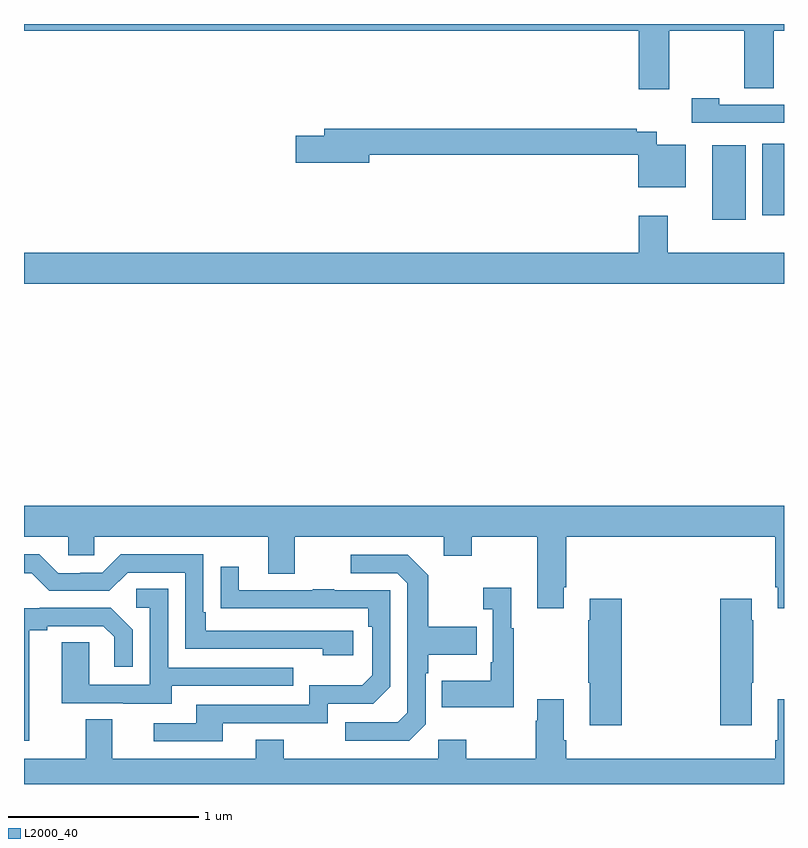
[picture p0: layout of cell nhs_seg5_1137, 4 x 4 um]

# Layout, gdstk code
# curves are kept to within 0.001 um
import gdstk
lib = gdstk.Library(unit=1e-6, precision=1e-09)
def R(c, l, rs):  # rectangles x0, y0, x1, y1
    for r in rs: c.add(gdstk.rectangle(r[:2], r[2:], *l))
def P(c, l, *ps):  # polygons
    for p in ps: c.add(gdstk.Polygon(p, *l))
L2000_40 = (2000, 40)

nhs_seg5_1137 = lib.new_cell('nhs_seg5_1137')
R(nhs_seg5_1137, L2000_40, [(184.622,851.768,184.798,852.16), (184.886,851.793,185,852.169)])
P(nhs_seg5_1137, L2000_40, [(184.395,852.764),(184.792,852.764),(184.792,852.46),(184.946,852.46),(184.946,852.764),(185,852.764),(185,852.799),(181,852.799),(181,852.764),(184.235,852.764),(184.235,852.456),(184.395,852.456)],
  [(185,852.375),(184.659,852.375),(184.659,852.408),(184.515,852.408),(184.515,852.279),(185,852.279)],
  [(184.483,852.163),(184.329,852.163),(184.329,852.231),(184.226,852.231),(184.226,852.248),(182.579,852.248),(182.579,852.212),(182.43,852.212),(182.43,852.07),(182.818,852.07),(182.818,852.112),(184.233,852.112),(184.233,851.939),(184.483,851.939)],
  [(185,851.596),(184.387,851.596),(184.387,851.791),(184.235,851.791),(184.235,851.596),(181,851.596),(181,851.432),(185,851.432)],
  [(183.841,849.835),(183.854,849.835),(183.854,850.1),(184.955,850.1),(184.955,849.835),(184.967,849.835),(184.967,849.723),(185,849.723),(185,850.264),(181,850.264),(181,850.1),(181.233,850.1),(181.233,850.002),(181.371,850.002),(181.371,850.1),(182.285,850.1),(182.285,849.906),(182.425,849.906),(182.425,850.1),(183.209,850.1),(183.209,850.001),(183.357,850.001),(183.357,850.1),(183.701,850.1),(183.701,849.723),(183.841,849.723)],
  [(182.734,849.606),(181.957,849.606),(181.957,849.703),(181.944,849.703),(181.944,850.008),(181.509,850.008),(181.413,849.912),(181.295,849.912),(181.295,849.909),(181.179,849.909),(181.079,850.009),(181,850.009),(181,849.909),(181.041,849.909),(181.134,849.816),(181.449,849.816),(181.545,849.912),(181.848,849.912),(181.848,849.51),(182.573,849.51),(182.573,849.476),(182.734,849.476)],
  [(183.114,849.114),(183.114,849.383),(183.127,849.383),(183.127,849.479),(183.383,849.479),(183.383,849.627),(183.127,849.627),(183.127,849.899),(183.021,850.005),(182.721,850.005),(182.721,849.909),(182.964,849.909),(183.018,849.855),(183.018,849.174),(182.967,849.123),(182.691,849.123),(182.691,849.027),(183.027,849.027)],
  [(182.047,849.12),(182.598,849.12),(182.598,849.222),(182.838,849.222),(182.928,849.312),(182.928,849.819),(182.633,849.819),(182.633,849.824),(182.521,849.824),(182.521,849.819),(182.131,849.819),(182.131,849.943),(182.035,849.943),(182.035,849.724),(182.812,849.723),(182.812,849.626),(182.832,849.626),(182.832,849.372),(182.779,849.319),(182.502,849.319),(182.502,849.216),(181.907,849.216),(181.907,849.12),(181.683,849.12),(181.683,849.024),(182.047,849.024)],
  [(183.577,849.619),(183.565,849.619),(183.565,849.832),(183.417,849.832),(183.417,849.719),(183.468,849.719),(183.468,849.439),(183.456,849.439),(183.456,849.343),(183.199,849.343),(183.199,849.203),(183.577,849.203)],
  [(181.777,849.315),(182.417,849.315),(182.417,849.411),(181.758,849.411),(181.758,849.827),(181.59,849.827),(181.59,849.726),(181.662,849.726),(181.662,849.321),(181.344,849.321),(181.344,849.545),(181.199,849.545),(181.199,849.225),(181.523,849.225),(181.523,849.221),(181.777,849.221)],
  [(184.145,849.775),(183.977,849.775),(183.977,849.662),(183.97,849.662),(183.97,849.331),(183.977,849.331),(183.977,849.108),(184.145,849.108)],
  [(184.831,849.331),(184.839,849.331),(184.839,849.662),(184.831,849.662),(184.831,849.775),(184.664,849.775),(184.664,849.108),(184.831,849.108)],
  [(181.027,849.608),(181.123,849.608),(181.123,849.63),(181.418,849.63),(181.475,849.573),(181.475,849.417),(181.572,849.417),(181.572,849.61),(181.456,849.726),(181.084,849.726),(181.084,849.723),(181,849.723),(181,849.027),(181.027,849.027)],
  [(185,849.244),(184.967,849.244),(184.967,849.028),(184.955,849.028),(184.955,848.932),(183.854,848.932),(183.854,849.028),(183.841,849.028),(183.841,849.244),(183.701,849.244),(183.701,849.131),(183.694,849.131),(183.694,848.932),(183.327,848.932),(183.327,849.031),(183.18,849.031),(183.18,848.932),(182.367,848.932),(182.367,849.031),(182.219,849.031),(182.219,848.932),(181.465,848.932),(181.465,849.14),(181.325,849.14),(181.325,848.932),(181,848.932),(181,848.799),(185,848.799)])

lib.write_gds('nhs_seg5_1137.gds')
